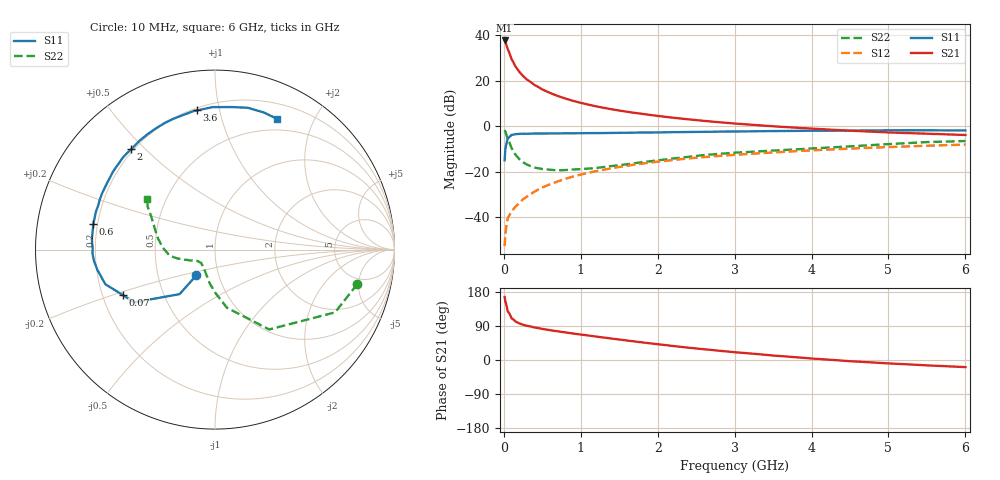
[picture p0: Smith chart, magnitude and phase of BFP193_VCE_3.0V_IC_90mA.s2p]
! Infineon Technologies  Discrete & RF Semiconductors
! BFP193
! VCE =  3.0 V,  IC =  90 mA
! Common Emitter S-Parameters:  Jan 2017
# GHz  S  MA  R  50
!  f  S11  S21  S12  S22
! GHz  MAG  ANG  MAG  ANG  MAG  ANG  MAG  ANG
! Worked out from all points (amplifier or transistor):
!   77 points, 10 MHz to 6 GHz, reference 50 ohm
!   highest |S21| = 37.7 dB at 10 MHz (marker M1)
!   |S21| within 3 dB of that: start of sweep to 42.59 MHz
!   unconditionally stable (mu >= 1): 274.6 MHz to 2.687 GHz
!   at 130 MHz: K = 0.81, MSG = 32.0 dB, |S12| = -36.2 dB
!   at 2.2 GHz: K = 1.03, MAG = 8.3 dB, |S12| = -14.9 dB
!   at 6 GHz: K = 0.96, MSG = 2.1 dB, |S12| = -8.1 dB
!   S11 on the Smith chart (normalised r, x): 10 MHz: 0.78, -0.23; 70 MHz: 0.29, -0.21; 600 MHz: 0.18, +0.10; 2 GHz: 0.19, +0.45; 3.6 GHz: 0.21, +0.86; 6 GHz: 0.37, +1.52
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0.01  0.1781 -125.9  76.59 166.2  0.0023 77.6  0.8161 -13.6
0.02  0.3171 -128.5  71.79 153.9  0.0042 75.2  0.7548 -27.6
0.05  0.5365 -146.8  49.9 128.3  0.0093 58.9  0.538 -55.8
0.07  0.5729 -153.8  41.44 123.1  0.0108 60.2  0.4479 -62.3
0.1  0.6408 -162.5  29.82 110.1  0.0131 61.5  0.3309 -78.4
0.15  0.6654 -170.3  20.68 101.8  0.0169 62.9  0.2373 -90.2
0.2  0.6769 -174.6  15.74 96.7  0.0202 66.8  0.1901 -98.9
0.25  0.683 -178.1  12.68 92.9  0.0248 67.6  0.1618 -105.0
0.3  0.6816 179.5  10.6 90.3  0.0282 69.5  0.143 -110.8
0.4  0.6886 175.1  8.015 85.7  0.0364 71.6  0.123 -119.2
0.5  0.6895 171.3  6.423 82.0  0.0448 71.6  0.1144 -125.8
0.6  0.693 168.2  5.378 78.7  0.0529 71.6  0.1102 -131.6
0.8  0.6963 162.3  4.049 72.7  0.0697 71.2  0.1084 -138.5
1.1  0.7026 153.8  2.97 64.6  0.0946 68.0  0.1167 -146.7
1.5  0.7145 143.0  2.204 54.1  0.1268 63.3  0.1385 -154.4
2  0.7285 129.9  1.681 41.6  0.1655 56.8  0.1771 -161.3
2.1  0.7325 127.3  1.606 39.4  0.1727 55.4  0.1857 -163.0
3.1  0.7664 106.1  1.111 18.9  0.24 42.0  0.2666 -176.1
3.6  0.7821 97.3  0.97 10.3  0.2701 36.0  0.2964 176.1
4.1  0.794 89.4  0.865 2.6  0.299 29.8  0.3296 167.1
5.1  0.8102 75.7  0.719 -10.0  0.3518 17.8  0.4116 151.1
6  0.8063 64.6  0.64 -18.8  0.3936 7.5  0.4717 143.0
